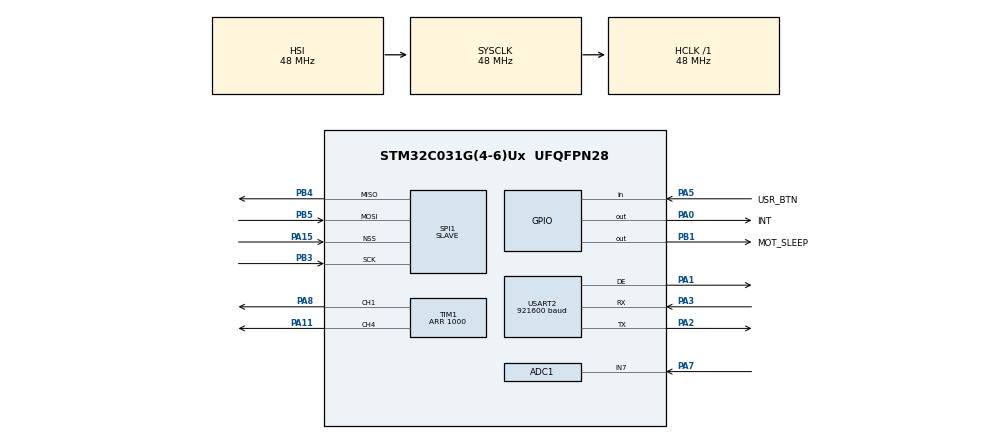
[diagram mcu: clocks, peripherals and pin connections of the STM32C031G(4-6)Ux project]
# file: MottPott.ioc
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ADC1.ClockPrescaler=ADC_CLOCK_SYNC_PCLK_DIV4
ADC1.NbrOfConversion=1
ADC1.NbrOfConversionFlag=0
ADC1.Overrun=ADC_OVR_DATA_OVERWRITTEN
ADC1.SamplingTimeCommon1=ADC_SAMPLETIME_160CYCLES_5
ADC1.SelectedChannel=ADC_CHANNEL_7
ADC1.master=1
Mcu.Family=STM32C0
Mcu.Name=STM32C031G(4-6)Ux
Mcu.Package=UFQFPN28
NVIC.TIM14_IRQn=true\:2\:0\:true\:false\:true\:true\:true\:true
NVIC.TIM16_IRQn=true\:1\:0\:true\:false\:true\:true\:true\:true
NVIC.USART2_IRQn=true\:0\:0\:false\:false\:true\:true\:true\:true
PA0.GPIO_Label=INT
PA0.GPIO_ModeDefaultOutputPP=GPIO_MODE_OUTPUT_OD
PA0.GPIO_PuPd=GPIO_PULLUP
PA0.PinState=GPIO_PIN_SET
PA0.Signal=GPIO_Output
PA1.Mode=Hardware Flow Control (RS485)
PA1.Signal=USART2_DE
PA11\ [PA9].Signal=S_TIM1_CH4
PA13.Mode=Serial_Wire
PA13.Signal=DEBUG_SWDIO
PA14-BOOT0.Mode=Serial_Wire
PA14-BOOT0.Signal=DEBUG_SWCLK
PA15.Mode=NSS_Signal_Hard_Input
PA15.Signal=SPI1_NSS
PA2.Mode=Asynchronous
PA2.Signal=USART2_TX
PA3.Mode=Asynchronous
PA3.Signal=USART2_RX
PA5.GPIO_Label=USR_BTN
PA5.GPIO_PuPd=GPIO_PULLUP
PA5.Signal=GPIO_Input
PA7.Mode=IN7
PA7.Signal=ADC1_IN7
PA8.Signal=S_TIM1_CH1
PB1.GPIO_Label=MOT_SLEEP
PB1.Signal=GPIO_Output
PB3.Mode=Full_Duplex_Slave
PB3.Signal=SPI1_SCK
PB4.Mode=Full_Duplex_Slave
PB4.Signal=SPI1_MISO
PB5.Mode=Full_Duplex_Slave
PB5.Signal=SPI1_MOSI
ProjectManager.HeapSize=0x200
ProjectManager.StackSize=0x400
ProjectManager.TargetToolchain=STM32CubeIDE
RCC.ADCFreq_Value=48000000
RCC.AHBFreq_Value=48000000
RCC.CortexFreq_Value=48000000
RCC.EXTERNAL_CLOCK_VALUE=12288000
RCC.HCLKFreq_Value=48000000
RCC.HSE_VALUE=8000000
RCC.HSISYSCLKDivider=RCC_HSI_DIV1
RCC.HSI_VALUE=48000000
RCC.LSE_VALUE=32768
RCC.SYSCLKFreq_VALUE=48000000
SH.S_TIM1_CH1.0=TIM1_CH1,PWM Generation1 CH1
SH.S_TIM1_CH4.0=TIM1_CH4,PWM Generation4 CH4
SPI1.Direction=SPI_DIRECTION_2LINES
SPI1.Mode=SPI_MODE_SLAVE
SPI1.VirtualNSS=VM_NSSHARD
SPI1.VirtualType=VM_SLAVE
TIM1.Channel-PWM\ Generation1\ CH1=TIM_CHANNEL_1
TIM1.Channel-PWM\ Generation4\ CH4=TIM_CHANNEL_4
TIM1.OCFastMode_PWM-PWM\ Generation1\ CH1=TIM_OCFAST_ENABLE
TIM1.OCFastMode_PWM-PWM\ Generation4\ CH4=TIM_OCFAST_ENABLE
TIM1.Period=1000
TIM14.Period=4800
TIM14.Prescaler=50
TIM16.Period=2000
TIM16.Prescaler=34
USART2.BaudRate=921600
USART2.StopBits=STOPBITS_2
USART2.VirtualMode-Asynchronous=VM_ASYNC
USART2.VirtualMode-Hardware\ Flow\ Control\ (RS485)=VM_ASYNC
VP_TIM14_VS_ClockSourceINT.Mode=Enable_Timer
VP_TIM16_VS_ClockSourceINT.Mode=Enable_Timer
board=custom

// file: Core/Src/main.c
/* USER CODE BEGIN Header */
/**
  ******************************************************************************
  * @file           : main.c
  * @brief          : Main program body
  ******************************************************************************
  * @attention
  *
  * Copyright (c) 2024 STMicroelectronics.
  * All rights reserved.
  *
  * This software is licensed under terms that can be found in the LICENSE file
  * in the root directory of this software component.
  * If no LICENSE file comes with this software, it is provided AS-IS.
  *
  ******************************************************************************
  */
/* USER CODE END Header */
#include "main.h"
#include "adc.h"
#include "spi.h"
#include "tim.h"
#include "usart.h"
#include "gpio.h"

/* USER CODE BEGIN Includes */
#include "mb.h"
#include "port.h"
#include "mbport.h"

#include "housekeep.h"
#include "settings.h"
#include "motor.h"
/* USER CODE END Includes */

/* USER CODE BEGIN PV */
extern USHORT   usRegInputBuf[REG_INPUT_NREGS];
extern USHORT   usRegHoldingBuf[REG_HOLDING_NREGS];
extern USHORT   usRegCoilBuf[REG_COIL_NREGS];
extern USHORT   usRegDiscreteBuf[REG_DISCRETE_NREGS];
/* USER CODE END PV */

void SystemClock_Config(void);

int main(void)
{

  /* MCU Configuration--------------------------------------------------------*/

  /* Reset of all peripherals, Initializes the Flash interface and the Systick. */
  HAL_Init();

  /* Configure the system clock */
  SystemClock_Config();

  /* Initialize all configured peripherals */
  MX_GPIO_Init();
  MX_SPI1_Init();
  MX_TIM14_Init();
  MX_TIM16_Init();
  MX_USART2_UART_Init();
  MX_ADC1_Init();
  MX_TIM1_Init();
  /* USER CODE BEGIN 2 */

  if(HAL_ADCEx_Calibration_Start(&hadc1) != HAL_OK){
	  Error_Handler();
  }

  settings_init();
  MB_startup();

  motor_init(&hmot1);
  start_housekeeping();

  motor_enable();
//  motor_speed(100);
//  motor_left();
//
//  HAL_Delay(2000);
//  motor_brake();
//  HAL_Delay(1000);
//  motor_stop();

  /* USER CODE END 2 */

  /* Infinite loop */
  while (1)
  {

    /* USER CODE BEGIN 3 */
	  if(eMBPoll()!=MB_ENOERR)Error_Handler();  /*Modbus poll update in each run*/

  }
  /* USER CODE END 3 */
}

void SystemClock_Config(void)
{
  RCC_OscInitTypeDef RCC_OscInitStruct = {0};
  RCC_ClkInitTypeDef RCC_ClkInitStruct = {0};

  /** Initializes the RCC Oscillators according to the specified parameters
  * in the RCC_OscInitTypeDef structure.
  */
  RCC_OscInitStruct.OscillatorType = RCC_OSCILLATORTYPE_HSI;
  RCC_OscInitStruct.HSIState = RCC_HSI_ON;
  RCC_OscInitStruct.HSIDiv = RCC_HSI_DIV1;
  RCC_OscInitStruct.HSICalibrationValue = RCC_HSICALIBRATION_DEFAULT;
  if (HAL_RCC_OscConfig(&RCC_OscInitStruct) != HAL_OK)
  {
    Error_Handler();
  }

  /** Initializes the CPU, AHB and APB buses clocks
  */
  RCC_ClkInitStruct.ClockType = RCC_CLOCKTYPE_HCLK|RCC_CLOCKTYPE_SYSCLK
                              |RCC_CLOCKTYPE_PCLK1;
  RCC_ClkInitStruct.SYSCLKSource = RCC_SYSCLKSOURCE_HSI;
  RCC_ClkInitStruct.SYSCLKDivider = RCC_SYSCLK_DIV1;
  RCC_ClkInitStruct.AHBCLKDivider = RCC_HCLK_DIV1;
  RCC_ClkInitStruct.APB1CLKDivider = RCC_APB1_DIV1;

  if (HAL_RCC_ClockConfig(&RCC_ClkInitStruct, FLASH_LATENCY_1) != HAL_OK)
  {
    Error_Handler();
  }
}

void Error_Handler(void)
{
  __disable_irq();
  while (1)
  {
  }
}
